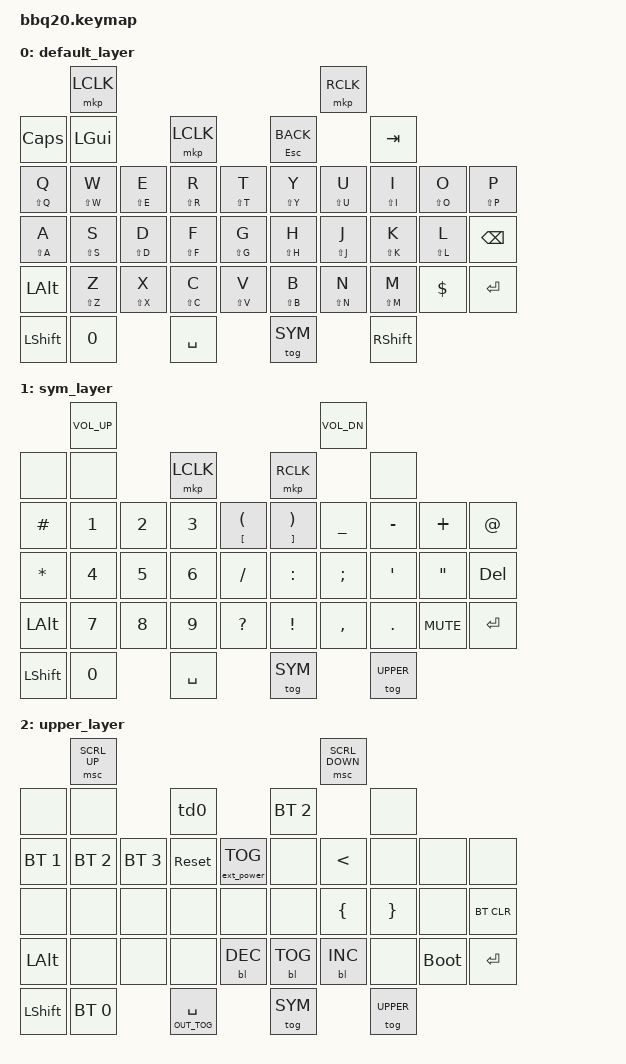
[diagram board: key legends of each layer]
/*
 * Copyright (c) 2023 ZitaoTech
 *
 * SPDX-License-Identifier: MIT
 */
   
#include <behaviors.dtsi>
#include <dt-bindings/zmk/keys.h>
#include <dt-bindings/zmk/bt.h>
#include <dt-bindings/zmk/outputs.h>
#include <dt-bindings/zmk/mouse.h>
#include <dt-bindings/zmk/backlight.h>
#include <dt-bindings/zmk/ext_power.h>


#define SYM 1
#define UPPER 2

/ {
    behaviors {
        td0: tap_dance_0 {
            compatible = "zmk,behavior-tap-dance";
            #binding-cells = <0>;
            tapping-term-ms = <400>;
            bindings = <&mkp LCLK>, <&bt BT_CLR>;
        };
    };
    behaviors {
        hm: homerow_mods {
            compatible = "zmk,behavior-hold-tap";
            #binding-cells = <2>;
            tapping-term-ms = <500>;
            bindings = <&out &kp>;
        };
    };

    keymap {
        compatible = "zmk,keymap";

        default_layer {

            bindings = <
//         --------------------------------------------------------------------------------------------------------------------------         
//         |    Shoulder Key1    |                                                                             |    Shoulder Key2    |     
// |         Call key      |      Blackberry Key        |    Trackpad    |             Back Key                |             Endcall Key          |
// |     Q      |     W    |     E    |     R    |      T      |       Y        |       U        |        I        |       O      |      P        |     
// |     A      |     S    |     D    |     F    |      G      |       H        |       J        |        K        |       L      |      ←        |  
// |     alt    |     Z    |     X    |     C    |      V      |       B        |       N        |        M        |       $      |    Enter      |   
//        |         aA     |         0           |           SPACE              |         SYM         |        aA          |       
//        -----------------------------------------------------------------------------------------------------------------

                 &mkp LCLK                                                                                          &mkp RCLK
    &kp CLCK                &kp LGUI                            &mkp LCLK                          &mt ESC K_BACK                    &kp TAB
    &mt LS(Q) Q        &mt LS(W) W      &mt LS(E) E       &mt LS(R) R     &mt LS(T) T         &mt LS(Y) Y             &mt LS(U) U            &mt LS(I) I            &mt LS(O) O            &mt LS(P) P
    &mt LS(A) A        &mt LS(S) S      &mt LS(D) D       &mt LS(F) F     &mt LS(G) G         &mt LS(H) H             &mt LS(J) J            &mt LS(K) K            &mt LS(L) L            &kp BSPC
    &kp LALT           &mt LS(Z) Z      &mt LS(X) X       &mt LS(C) C     &mt LS(V) V         &mt LS(B) B             &mt LS(N) N            &mt LS(M) M            &kp DLLR         &kp ENTER
    &kp LSHFT               &kp 0                            &kp SPACE                          &tog SYM                          &kp RSHFT
            >;
        };


        sym_layer {

            bindings = <        
                 &kp C_VOL_UP                                                                                       &kp C_VOL_DN
    &none               &none                     &mkp LCLK                          &mkp RCLK                            &none 
    &kp HASH     &kp N1     &kp N2      &kp N3    &mt LBKT LPAR &mt RBKT RPAR     &kp UNDER        &kp MINUS        &kp PLUS         &kp AT
    &kp STAR     &kp N4     &kp N5      &kp N6    &kp SLASH     &kp COLON         &kp SEMI         &kp APOS         &kp DQT          &kp DEL
    &kp LALT    &kp N7     &kp N8      &kp N9    &kp QMARK     &kp EXCL          &kp COMMA        &kp DOT          &kp C_MUTE       &kp ENTER
    &kp LSHFT               &kp N0                              &kp SPACE                          &tog SYM                          &tog UPPER
            >;
        };

        upper_layer {

            bindings = <
                 &msc SCRL_UP                                                                                       &msc SCRL_DOWN
    &none            &none                             &td0                           &bt BT_SEL 2                     &none
    &bt BT_SEL 1        &bt BT_SEL 2     &bt BT_SEL 3       &sys_reset &ext_power EP_TOG &none         &kp LT           &none          &none         &none
    &none     &none   &none   &none      &none          &none      &kp LBRC         &kp RBRC        &none        &bt BT_CLR
    &kp LALT    &none      &none       &none      &bl BL_DEC        &bl BL_TOG    &bl BL_INC       &none           &bootloader      &kp ENTER
    &kp LSHFT               &bt BT_SEL 0                                 &hm OUT_TOG SPACE              &tog SYM                         &tog UPPER
            >;
        };
    };
};
